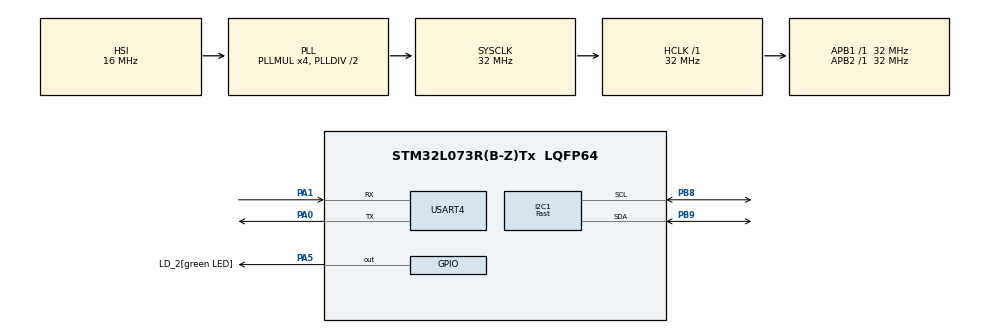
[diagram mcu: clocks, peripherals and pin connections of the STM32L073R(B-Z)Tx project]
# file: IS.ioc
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I2C1.Analog_Filter=I2C_ANALOGFILTER_ENABLE
I2C1.I2C_Speed_Mode=I2C_Fast
I2C1.Timing=0x00300F38
Mcu.Family=STM32L0
Mcu.Name=STM32L073R(B-Z)Tx
Mcu.Package=LQFP64
NVIC.I2C1_IRQn=true\:0\:0\:false\:false\:true\:true\:true\:true
NVIC.TIM2_IRQn=true\:0\:0\:false\:false\:true\:true\:true\:true
NVIC.USART4_5_IRQn=true\:0\:0\:false\:false\:true\:true\:true\:true
PA0.Mode=Asynchronous
PA0.Signal=USART4_TX
PA1.Mode=Asynchronous
PA1.Signal=USART4_RX
PA5.GPIO_Label=LD_2[green LED]
PA5.GPIO_Speed=GPIO_SPEED_FREQ_VERY_HIGH
PA5.Signal=GPIO_Output
PB8.Mode=I2C
PB8.Signal=I2C1_SCL
PB9.Mode=I2C
PB9.Signal=I2C1_SDA
PH0-OSC_IN.Mode=HSE-External-Oscillator
PH0-OSC_IN.Signal=RCC_OSC_IN
PH1-OSC_OUT.Mode=HSE-External-Oscillator
PH1-OSC_OUT.Signal=RCC_OSC_OUT
ProjectManager.HeapSize=0x200
ProjectManager.StackSize=0x400
ProjectManager.TargetToolchain=MDK-ARM V5.32
RCC.AHBFreq_Value=32000000
RCC.APB1Freq_Value=32000000
RCC.APB1TimFreq_Value=32000000
RCC.APB2Freq_Value=32000000
RCC.APB2TimFreq_Value=32000000
RCC.HCLKFreq_Value=32000000
RCC.HSE_VALUE=1000000
RCC.HSI16_VALUE=16000000
RCC.HSI48_VALUE=48000000
RCC.HSI_VALUE=16000000
RCC.MSI_VALUE=2097000
RCC.PLLMUL=RCC_PLLMUL_4
RCC.SYSCLKFreq_VALUE=32000000
RCC.SYSCLKSource=RCC_SYSCLKSOURCE_PLLCLK
RCC.VCOOutputFreq_Value=64000000
TIM2.Period=160
TIM2.Prescaler=40000
USART4.VirtualMode-Asynchronous=VM_ASYNC
VP_TIM2_VS_ClockSourceINT.Mode=Internal
board=custom

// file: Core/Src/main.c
/* USER CODE BEGIN Header */
/**
  ******************************************************************************
  * @file           : main.c
  * @brief          : Main program body
  ******************************************************************************
  * @attention
  *
  * Copyright (c) 2024 STMicroelectronics.
  * All rights reserved.
  *
  * This software is licensed under terms that can be found in the LICENSE file
  * in the root directory of this software component.
  * If no LICENSE file comes with this software, it is provided AS-IS.
  *
  ******************************************************************************
  */
/* USER CODE END Header */
#include "main.h"

/* USER CODE BEGIN Includes */
#include <stdio.h>
#include <string.h>
#include "math.h"
#include "ssd1306.h"
#include "ssd1306_fonts.h"
/* USER CODE END Includes */

/* USER CODE BEGIN PTD */
int counter2; //cia counter2, nes buvo naudojamas tim2
/* USER CODE END PTD */

I2C_HandleTypeDef hi2c1;

TIM_HandleTypeDef htim2;

UART_HandleTypeDef huart4;

void SystemClock_Config(void);
static void MX_GPIO_Init(void);
static void MX_I2C1_Init(void);
static void MX_TIM2_Init(void);
static void MX_USART4_UART_Init(void);
/* USER CODE BEGIN PFP */
#define adxl_address 0x53<<1

#define BUFFER_LEN 10
#define NUM_CHANNELS 3

char data_UART[100];
/* for handling I2C errors */
void MyErrorHandlerI2C()
{

}
//sensoriui
uint8_t data_rec[6];
/* USER CODE END PFP */

/* USER CODE BEGIN 0 */
//ADXL345 kintamieji
int16_t x_raw, y_raw, z_raw;
float x_g, y_g, z_g;

uint8_t chipid=0;

//skaiciavimu kintamieji
float channel_data[BUFFER_LEN][NUM_CHANNELS];
float vidutine_kvadratine_verte[NUM_CHANNELS];

uint8_t buffer_index = 0;

void adxl_write (uint8_t reg, uint8_t value)
{
	uint8_t data [2];
	data[0] = reg;
	data[1] = value;
	HAL_I2C_Master_Transmit (&hi2c1, adxl_address, data, 2, 100);
}

//nuskaitymas
void adxl_read (uint8_t reg)
{
	HAL_I2C_Mem_Read (&hi2c1, adxl_address, reg, 1, (uint8_t *)data_rec, 6, 100);
}
void adxl_read_address (uint8_t reg) {
	HAL_I2C_Mem_Read (&hi2c1, adxl_address, reg, 1, &chipid, 1, 100);
}
void adxl_init (void)
{
	adxl_read(0x00); //icializavimas:
	adxl_write (0x2d, 0x00); //isvalo visus bitus (cia POWER_CTL registras)
	adxl_write (0x2d, 0x08); //matuoja bit-1, wakeup, 0 8hz dazniu
	adxl_write (0x31, 0x01); //+-4g diapazone(data_format)
}

//toliau issaugojimas informacijos apdorojimui
void save_data(float x, float y, float z) {
    static uint8_t buffer_index = 0;

    //issaugo i buferius
    channel_data[buffer_index][0] = x; // x asies data
    channel_data[buffer_index][1] = y; // y asies data
    channel_data[buffer_index][2] = z; // z asies data

    // bufferio indekso didinimas
    buffer_index = (buffer_index + 1) % BUFFER_LEN;
}
//nuskaitymas (cia 0x32 - 0x37 registrais)
void read_ADXL_data(void){
	adxl_read(0x32);
	x_raw = ((data_rec[1] << 8) | data_rec[0]);
	y_raw = ((data_rec[3] << 8) | data_rec[2]);
	z_raw = ((data_rec[5] << 8) | data_rec[4]);

	x_g = x_raw * 0.0078;
	y_g = y_raw * 0.0078;
	z_g = z_raw * 0.0078;
	save_data(x_g, y_g, z_g);
}
//kiekvienos asies rms apskaiciavimas
void calculate_rms() {
    for (uint8_t j = 0; j < NUM_CHANNELS; j++) {
        float suma = 0.0;
        for (uint8_t i = 0; i < BUFFER_LEN; i++) {
            suma += pow(channel_data[i][j], 2); //kvadratu sumos
        }
        vidutine_kvadratine_verte[j] = sqrt(suma / BUFFER_LEN); // RMS vertes, kur [0] - x verciu masyvas, [1] - y ir [2] - z

		}

}

// atvaizdavimo funkcija
void display_rms() {
		char rms_value[20];

    // Display X-axis RMS value
    ssd1306_SetCursor(16,1);
    sprintf(rms_value, "X_rms: %.5f", vidutine_kvadratine_verte[0]);
    ssd1306_WriteString(rms_value, Font_6x8, 0x01);

    // Display Y-axis RMS value
    ssd1306_SetCursor(16,9);
    sprintf(rms_value, "Y_rms: %.5f", vidutine_kvadratine_verte[1]);
    ssd1306_WriteString(rms_value, Font_6x8, 0x01);

    // Display Z-axis RMS value
    ssd1306_SetCursor(16,17);
    sprintf(rms_value, "Z_rms: %.5f", vidutine_kvadratine_verte[2]);
    ssd1306_WriteString(rms_value, Font_6x8, 0x01);

		HAL_GPIO_TogglePin(GPIOA, GPIO_PIN_5); //atnaujinant uzsidega LED2 [green]

    ssd1306_UpdateScreen(); // Update OLED display

}

void dataUART(void)
{
    sprintf(data_UART, "X_g: %.4f, Y_g: %.4f, Z_g: %.4f \r\n", x_g, y_g, z_g);
		HAL_UART_Transmit_IT(&huart4, (uint8_t *)data_UART, strlen(data_UART));

	if (HAL_UART_Transmit_IT(&huart4, (uint8_t *)data_UART, strlen(data_UART)) != HAL_OK)
    {
        // Handle transmit error
        HAL_GPIO_WritePin(GPIOA, GPIO_PIN_5, GPIO_PIN_SET); //esant klaidai ijungia LED2
    }
    else
    {
        HAL_GPIO_TogglePin(GPIOA, GPIO_PIN_5); // mirksi LED2 [zalias ant maketo]
    }

}

//cia pabandymui su rms verciu perdavimu UART, nerodo z_rms verciu, susikuriant nauja buferi, pvz uart2[100], verciu isvis nesiuncia
//void dataUART2(void)
//{
//    sprintf(data_UART, "\n X_rms: %.5f, Y_rms: %.5f, Z_rms: %.5f", vidutine_kvadratine_verte[0], vidutine_kvadratine_verte[1], vidutine_kvadratine_verte[2]);
//		HAL_UART_Transmit_IT(&huart4, (uint8_t *)data_UART, strlen(data_UART));
//
//	if (HAL_UART_Transmit_IT(&huart4, (uint8_t *)data_UART, strlen(data_UART)) != HAL_OK)
//    {
//        // Handle transmit error
//        HAL_GPIO_WritePin(GPIOA, GPIO_PIN_5, GPIO_PIN_SET); //esant klaidai ijungia LED2
//    }
//    else
//    {
//        HAL_GPIO_TogglePin(GPIOA, GPIO_PIN_5); // mirksi LED2 [zalias ant maketo]
//    }
//
//}

void HAL_UART_ErrorCallback(UART_HandleTypeDef *huart) {
    if (huart->Instance == USART4) {
			printf("UART Error Occurred\r\n");
        // Toggle a different LED or print error to UART
       HAL_GPIO_WritePin(GPIOA, GPIO_PIN_5, GPIO_PIN_SET); // Assuming another LED is connected to PA6
    }
}

void HAL_UART_TxCpltCallback(UART_HandleTypeDef *huart) {
    if (huart->Instance == USART4) {
			printf("UART Transmission Complete\r\n");
    //    HAL_GPIO_TogglePin(GPIOA, GPIO_PIN_5); // Assuming another LED is connected to PA7
    }
}

void HAL_TIM_PeriodElapsedCallback(TIM_HandleTypeDef *htim)
{

    if (htim == &htim2) //cia kai t = 200 [ms]
    {
			counter2++;
			read_ADXL_data();
			dataUART();

			if(counter2>=10){ //cia kai t = 200 * 10 [ms] = 2 [s]
				calculate_rms();
				display_rms();

				//dataUART2();
				//isvalomi visi kaupiami masyvai bei counteris
				//cia isvalant rms vertes nematomos vertes watch1 lange
//				vidutine_kvadratine_verte[0]=0;
//				vidutine_kvadratine_verte[1]=0;
//				vidutine_kvadratine_verte[2]=0;
//
				counter2=0;

				}
	}
}
/* USER CODE END 0 */

int main(void)
{

  /* MCU Configuration--------------------------------------------------------*/

  /* Reset of all peripherals, Initializes the Flash interface and the Systick. */
  HAL_Init();

  /* Configure the system clock */
  SystemClock_Config();

  /* Initialize all configured peripherals */
  MX_GPIO_Init();
  MX_I2C1_Init();
  MX_TIM2_Init();
  MX_USART4_UART_Init();
  /* USER CODE BEGIN 2 */
		if(HAL_TIM_Base_Start_IT(&htim2) != HAL_OK) //run TIM6 timer
   {
    Error_Handler();
   }

	 adxl_init();
	 ssd1306_Init();

  /* USER CODE END 2 */

  /* Infinite loop */
  while (1)
  {

  }
}

void SystemClock_Config(void)
{
  RCC_OscInitTypeDef RCC_OscInitStruct = {0};
  RCC_ClkInitTypeDef RCC_ClkInitStruct = {0};
  RCC_PeriphCLKInitTypeDef PeriphClkInit = {0};

  /** Configure the main internal regulator output voltage
  */
  __HAL_PWR_VOLTAGESCALING_CONFIG(PWR_REGULATOR_VOLTAGE_SCALE1);

  /** Initializes the RCC Oscillators according to the specified parameters
  * in the RCC_OscInitTypeDef structure.
  */
  RCC_OscInitStruct.OscillatorType = RCC_OSCILLATORTYPE_HSI;
  RCC_OscInitStruct.HSIState = RCC_HSI_ON;
  RCC_OscInitStruct.HSICalibrationValue = RCC_HSICALIBRATION_DEFAULT;
  RCC_OscInitStruct.PLL.PLLState = RCC_PLL_ON;
  RCC_OscInitStruct.PLL.PLLSource = RCC_PLLSOURCE_HSI;
  RCC_OscInitStruct.PLL.PLLMUL = RCC_PLLMUL_4;
  RCC_OscInitStruct.PLL.PLLDIV = RCC_PLLDIV_2;
  if (HAL_RCC_OscConfig(&RCC_OscInitStruct) != HAL_OK)
  {
    Error_Handler();
  }

  /** Initializes the CPU, AHB and APB buses clocks
  */
  RCC_ClkInitStruct.ClockType = RCC_CLOCKTYPE_HCLK|RCC_CLOCKTYPE_SYSCLK
                              |RCC_CLOCKTYPE_PCLK1|RCC_CLOCKTYPE_PCLK2;
  RCC_ClkInitStruct.SYSCLKSource = RCC_SYSCLKSOURCE_PLLCLK;
  RCC_ClkInitStruct.AHBCLKDivider = RCC_SYSCLK_DIV1;
  RCC_ClkInitStruct.APB1CLKDivider = RCC_HCLK_DIV1;
  RCC_ClkInitStruct.APB2CLKDivider = RCC_HCLK_DIV1;

  if (HAL_RCC_ClockConfig(&RCC_ClkInitStruct, FLASH_LATENCY_1) != HAL_OK)
  {
    Error_Handler();
  }
  PeriphClkInit.PeriphClockSelection = RCC_PERIPHCLK_I2C1;
  PeriphClkInit.I2c1ClockSelection = RCC_I2C1CLKSOURCE_PCLK1;
  if (HAL_RCCEx_PeriphCLKConfig(&PeriphClkInit) != HAL_OK)
  {
    Error_Handler();
  }
}

static void MX_I2C1_Init(void)
{

  hi2c1.Instance = I2C1;
  hi2c1.Init.Timing = 0x00300F38;
  hi2c1.Init.OwnAddress1 = 0;
  hi2c1.Init.AddressingMode = I2C_ADDRESSINGMODE_7BIT;
  hi2c1.Init.DualAddressMode = I2C_DUALADDRESS_DISABLE;
  hi2c1.Init.OwnAddress2 = 0;
  hi2c1.Init.OwnAddress2Masks = I2C_OA2_NOMASK;
  hi2c1.Init.GeneralCallMode = I2C_GENERALCALL_DISABLE;
  hi2c1.Init.NoStretchMode = I2C_NOSTRETCH_DISABLE;
  if (HAL_I2C_Init(&hi2c1) != HAL_OK)
  {
    Error_Handler();
  }

  /** Configure Analogue filter
  */
  if (HAL_I2CEx_ConfigAnalogFilter(&hi2c1, I2C_ANALOGFILTER_ENABLE) != HAL_OK)
  {
    Error_Handler();
  }

  /** Configure Digital filter
  */
  if (HAL_I2CEx_ConfigDigitalFilter(&hi2c1, 0) != HAL_OK)
  {
    Error_Handler();
  }

}

static void MX_TIM2_Init(void)
{

  TIM_ClockConfigTypeDef sClockSourceConfig = {0};
  TIM_MasterConfigTypeDef sMasterConfig = {0};

  htim2.Instance = TIM2;
  htim2.Init.Prescaler = 40000;
  htim2.Init.CounterMode = TIM_COUNTERMODE_UP;
  htim2.Init.Period = 160;
  htim2.Init.ClockDivision = TIM_CLOCKDIVISION_DIV1;
  htim2.Init.AutoReloadPreload = TIM_AUTORELOAD_PRELOAD_DISABLE;
  if (HAL_TIM_Base_Init(&htim2) != HAL_OK)
  {
    Error_Handler();
  }
  sClockSourceConfig.ClockSource = TIM_CLOCKSOURCE_INTERNAL;
  if (HAL_TIM_ConfigClockSource(&htim2, &sClockSourceConfig) != HAL_OK)
  {
    Error_Handler();
  }
  sMasterConfig.MasterOutputTrigger = TIM_TRGO_RESET;
  sMasterConfig.MasterSlaveMode = TIM_MASTERSLAVEMODE_DISABLE;
  if (HAL_TIMEx_MasterConfigSynchronization(&htim2, &sMasterConfig) != HAL_OK)
  {
    Error_Handler();
  }

}

static void MX_USART4_UART_Init(void)
{

  huart4.Instance = USART4;
  huart4.Init.BaudRate = 115200;
  huart4.Init.WordLength = UART_WORDLENGTH_8B;
  huart4.Init.StopBits = UART_STOPBITS_1;
  huart4.Init.Parity = UART_PARITY_NONE;
  huart4.Init.Mode = UART_MODE_TX_RX;
  huart4.Init.HwFlowCtl = UART_HWCONTROL_NONE;
  huart4.Init.OverSampling = UART_OVERSAMPLING_16;
  huart4.Init.OneBitSampling = UART_ONE_BIT_SAMPLE_DISABLE;
  huart4.AdvancedInit.AdvFeatureInit = UART_ADVFEATURE_NO_INIT;
  if (HAL_UART_Init(&huart4) != HAL_OK)
  {
    Error_Handler();
  }

}

static void MX_GPIO_Init(void)
{
  GPIO_InitTypeDef GPIO_InitStruct = {0};

  /* GPIO Ports Clock Enable */
  __HAL_RCC_GPIOH_CLK_ENABLE();
  __HAL_RCC_GPIOA_CLK_ENABLE();
  __HAL_RCC_GPIOB_CLK_ENABLE();

  /*Configure GPIO pin Output Level */
  HAL_GPIO_WritePin(LD_2_GPIO_Port, LD_2_Pin, GPIO_PIN_RESET);

  /*Configure GPIO pin : LD_2_Pin */
  GPIO_InitStruct.Pin = LD_2_Pin;
  GPIO_InitStruct.Mode = GPIO_MODE_OUTPUT_PP;
  GPIO_InitStruct.Pull = GPIO_NOPULL;
  GPIO_InitStruct.Speed = GPIO_SPEED_FREQ_VERY_HIGH;
  HAL_GPIO_Init(LD_2_GPIO_Port, &GPIO_InitStruct);

}

void Error_Handler(void)
{
  __disable_irq();
  while (1)
  {
  }
}
